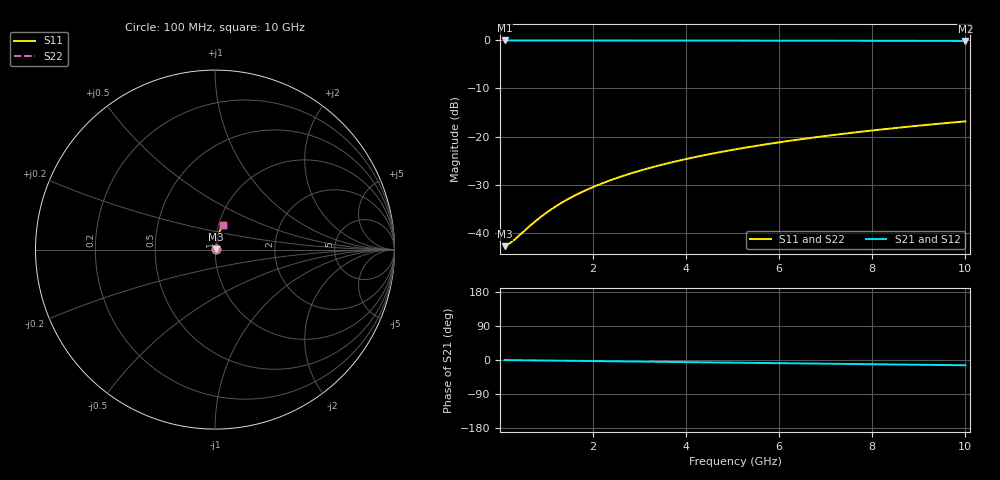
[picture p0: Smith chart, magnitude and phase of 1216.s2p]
# Hz S RI R 50.00
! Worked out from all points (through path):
!   100 points, 100 MHz to 10 GHz, reference 50 ohm
!   highest |S21| = -0.06 dB at 100 MHz (marker M1); lowest = -0.2 dB at 10 GHz (marker M2)
!   group delay of S21, straight-line fit = 3.86 ps
!   lowest |S11| = -42.6 dB at 100 MHz (marker M3), VSWR 1.01, Z = 50.7 + j0.147 ohm
!   |S11| at or under -10 dB: start of sweep to end of sweep
!   |S22| runs from -42.6 to -16.8 dB; largest |S21 - S12| = 0
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1e8  0.00725 0.00145  0.9927 -0.00242  0.9927 -0.00242  0.00725 0.00145
2e8  0.00731 0.00289  0.9927 -0.00483  0.9927 -0.00483  0.00731 0.00289
3e8  0.00736 0.00434  0.9926 -0.00724  0.9926 -0.00724  0.00736 0.00434
6e8  0.00753 0.00868  0.9924 -0.0145  0.9924 -0.0145  0.00753 0.00868
8e8  0.00766 0.0116  0.9923 -0.0193  0.9923 -0.0193  0.00766 0.0116
9e8  0.00774 0.013  0.9922 -0.0217  0.9922 -0.0217  0.00774 0.013
1.1e9  0.00791 0.0159  0.992 -0.0266  0.992 -0.0266  0.00791 0.0159
1.4e9  0.00821 0.0202  0.9917 -0.0338  0.9917 -0.0338  0.00821 0.0202
1.6e9  0.00844 0.0231  0.9914 -0.0386  0.9914 -0.0386  0.00844 0.0231
1.8e9  0.0087 0.026  0.9911 -0.0434  0.9911 -0.0434  0.0087 0.026
2.1e9  0.00914 0.0303  0.9906 -0.0506  0.9906 -0.0506  0.00914 0.0303
2.5e9  0.00982 0.036  0.9899 -0.0603  0.9899 -0.0603  0.00982 0.036
2.9e9  0.0106 0.0418  0.989 -0.0699  0.989 -0.0699  0.0106 0.0418
3.4e9  0.0117 0.0489  0.9877 -0.0818  0.9877 -0.0818  0.0117 0.0489
3.8e9  0.0128 0.0546  0.9865 -0.0914  0.9865 -0.0914  0.0128 0.0546
4.2e9  0.0139 0.0602  0.9852 -0.101  0.9852 -0.101  0.0139 0.0602
5.1e9  0.0169 0.0728  0.9818 -0.1223  0.9818 -0.1223  0.0169 0.0728
5.9e9  0.02 0.0839  0.9783 -0.1412  0.9783 -0.1412  0.02 0.0839
6.7e9  0.0235 0.0949  0.9743 -0.16  0.9743 -0.16  0.0235 0.0949
7.5e9  0.0274 0.1057  0.9698 -0.1786  0.9698 -0.1786  0.0274 0.1057
8.4e9  0.0323 0.1176  0.9642 -0.1993  0.9642 -0.1993  0.0323 0.1176
1e10  0.0423 0.1382  0.9528 -0.2355  0.9528 -0.2355  0.0423 0.1382
